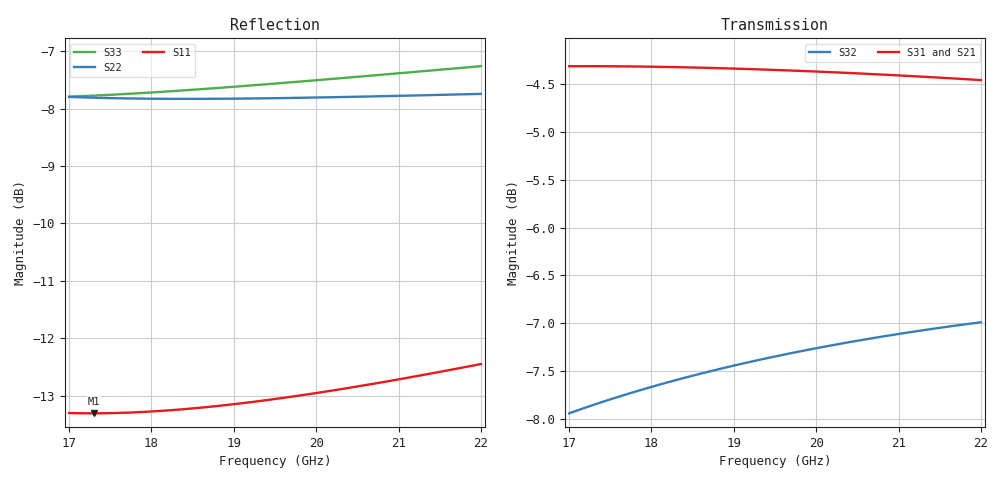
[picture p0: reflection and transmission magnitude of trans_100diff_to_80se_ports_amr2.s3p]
#  GHZ S DB R 50.0
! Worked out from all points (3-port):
!   51 points, 17 GHz to 22 GHz, reference 50 ohm
!   strongest paths, dB at 17 GHz, 18.2 GHz, 19.5 GHz, 20.8 GHz, 22 GHz:
!     S31: -4.3, -4.3, -4.4, -4.4, -4.5
!     S21: -4.5, -4.4, -4.4, -4.4, -4.4
!     S32: -7.9, -7.6, -7.3, -7.1, -7.0
!   lowest |S11| = -13.3 dB at 17.3 GHz (marker M1), VSWR 1.55, Z = 76.4 + j7.19 ohm
!   |S11| at or under -10 dB: start of sweep to end of sweep
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17  -13.30 15.8  -4.46 -171.7  -4.31 7.7
    -4.46 -171.7  -7.80 95.8  -7.94 73.9
    -4.31 7.7  -7.94 73.9  -7.79 92.7
17.3  -13.31 12.0  -4.45 -173.9  -4.31 5.6
      -4.45 -173.9  -7.81 92.9  -7.85 71.8
      -4.31 5.6  -7.85 71.8  -7.77 89.9
17.8  -13.29 5.9  -4.43 -177.4  -4.32 2.3
      -4.43 -177.4  -7.82 88.2  -7.72 68.4
      -4.32 2.3  -7.72 68.4  -7.74 85.4
18.4  -13.23 -1.0  -4.41 178.4  -4.33 -1.7
      -4.41 178.4  -7.83 83.0  -7.57 64.5
      -4.33 -1.7  -7.57 64.5  -7.68 80.4
18.9  -13.16 -6.3  -4.39 175.1  -4.34 -4.8
      -4.39 175.1  -7.83 79.0  -7.46 61.4
      -4.34 -4.8  -7.46 61.4  -7.63 76.5
19.5  -13.06 -12.4  -4.38 171.2  -4.35 -8.5
      -4.38 171.2  -7.82 74.5  -7.35 57.9
      -4.35 -8.5  -7.35 57.9  -7.56 72.1
20.1  -12.93 -18.0  -4.38 167.5  -4.37 -12.1
      -4.38 167.5  -7.80 70.3  -7.24 54.5
      -4.37 -12.1  -7.24 54.5  -7.49 68.1
20.7  -12.79 -23.3  -4.37 163.8  -4.40 -15.6
      -4.37 163.8  -7.79 66.4  -7.15 51.2
      -4.40 -15.6  -7.15 51.2  -7.42 64.3
21.3  -12.64 -28.4  -4.37 160.3  -4.42 -18.9
      -4.37 160.3  -7.77 62.8  -7.07 48.1
      -4.42 -18.9  -7.07 48.1  -7.35 60.8
22  -12.45 -33.9  -4.38 156.2  -4.46 -22.8
    -4.38 156.2  -7.74 58.8  -6.99 44.6
    -4.46 -22.8  -6.99 44.6  -7.26 57.0
